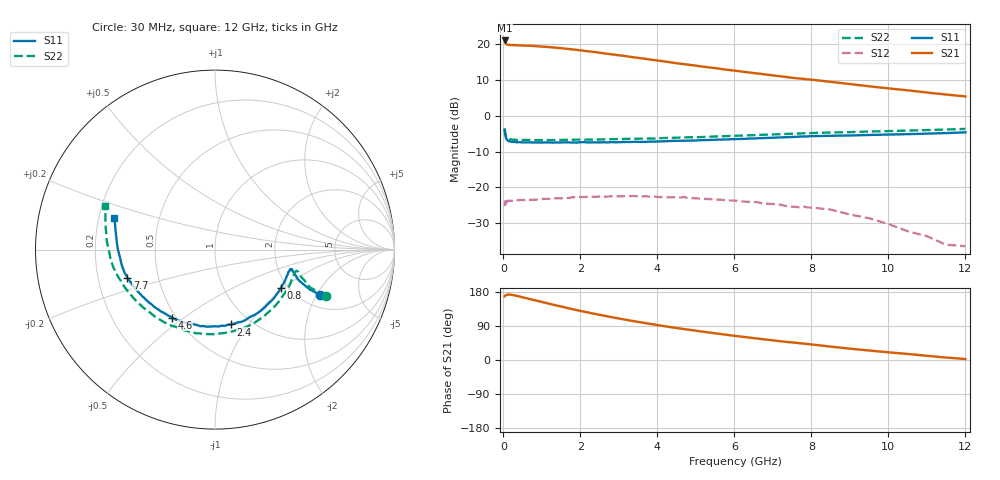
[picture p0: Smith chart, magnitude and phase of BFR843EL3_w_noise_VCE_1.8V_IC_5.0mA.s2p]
! (c) 2013  Infineon Technologies AG, Munich
! Infineon Technologies  Discrete & RF Semiconductors
! BFR843EL3
! VCE =  1.8 V,  IC =  5.0 mA
! Common Emitter S-Parameters:  Aug 2013
# GHz  S  MA  R  50
!  f  S11  S21  S12  S22
! GHz  MAG  ANG  MAG  ANG  MAG  ANG  MAG  ANG
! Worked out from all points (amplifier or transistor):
!   103 points, 30 MHz to 12 GHz, reference 50 ohm
!   highest |S21| = 21.1 dB at 30 MHz (marker M1)
!   |S21| within 3 dB of that: start of sweep to 2.174 GHz
!   unconditionally stable (mu >= 1): 234.1 MHz to 263.1 MHz; 6.603 GHz to end of sweep
!   at 400 MHz: K = 1.00, MSG = 21.6 dB, |S12| = -23.6 dB
!   at 3.7 GHz: K = 0.78, MSG = 19.2 dB, |S12| = -22.5 dB
!   at 12 GHz: K = 6.36, MAG = 9.9 dB, |S12| = -36.4 dB
!   lowest NFmin = 0.89 dB at 450 MHz
!   S11 on the Smith chart (normalised r, x): 30 MHz: 2.53, -2.12; 800 MHz: 1.84, -0.95; 2.4 GHz: 0.81, -0.83; 4.6 GHz: 0.47, -0.45; 7.7 GHz: 0.33, -0.14; 12 GHz: 0.26, +0.14
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0.03  0.6354 -23.2  11.31 168.2  0.0547 37.5  0.6712 -22.5
0.04  0.5731 -22.8  10.81 169.0  0.0595 28.2  0.6076 -22.1
0.06  0.5054 -20.5  10.26 170.6  0.0556 17.5  0.5387 -19.8
0.1  0.4593 -16.3  9.923 172.4  0.0649 13.1  0.4915 -16.2
0.15  0.4435 -14.3  9.787 172.7  0.0648 8.3  0.4728 -14.6
0.4  0.4286 -17.8  9.662 168.0  0.0663 3.8  0.4605 -19.0
0.8  0.4241 -30.0  9.442 157.9  0.0673 2.8  0.4579 -32.4
1.2  0.4241 -43.3  9.126 148.1  0.0693 2.2  0.4592 -46.4
1.5  0.4252 -52.4  8.824 141.0  0.0703 0.9  0.4602 -56.4
1.8  0.424 -61.2  8.479 134.0  0.073 0.9  0.4644 -65.8
2.1  0.4287 -69.8  8.1 127.4  0.0734 -0.7  0.4644 -75.0
2.4  0.426 -78.0  7.756 121.1  0.074 -2.8  0.4675 -83.1
2.8  0.4287 -87.3  7.256 113.2  0.0752 -4.4  0.4721 -93.2
3.3  0.4308 -98.7  6.67 103.9  0.0756 -7.8  0.478 -104.6
4.1  0.4404 -113.7  5.842 90.6  0.0732 -12.7  0.4884 -119.8
4.6  0.4485 -122.4  5.352 83.0  0.0723 -15.9  0.4973 -128.6
5.3  0.4589 -133.0  4.789 73.1  0.0687 -19.9  0.5101 -138.9
6.1  0.4754 -143.7  4.22 62.7  0.0643 -24.0  0.5291 -149.5
7.7  0.5136 -162.3  3.323 44.2  0.0525 -30.1  0.5674 -167.5
8.5  0.5268 -170.8  2.987 35.3  0.049 -35.5  0.5854 -175.6
10.5  0.5548 172.6  2.276 15.9  0.0244 -32.8  0.6225 168.2
12  0.5889 162.8  1.868 2.6  0.0151 10.7  0.6569 158.5
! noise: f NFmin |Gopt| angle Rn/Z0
0.45  0.89  0.18  11  0.17
0.9  0.9  0.19  27  0.16
1.5  0.94  0.2  42  0.15
1.9  0.96  0.2  45  0.15
2.4  0.98  0.21  58  0.14
3.5  1.03  0.21  79  0.14
5.5  1.12  0.25  116  0.11
8  1.22  0.33  157  0.08
10  1.3  0.42  204  0.05
